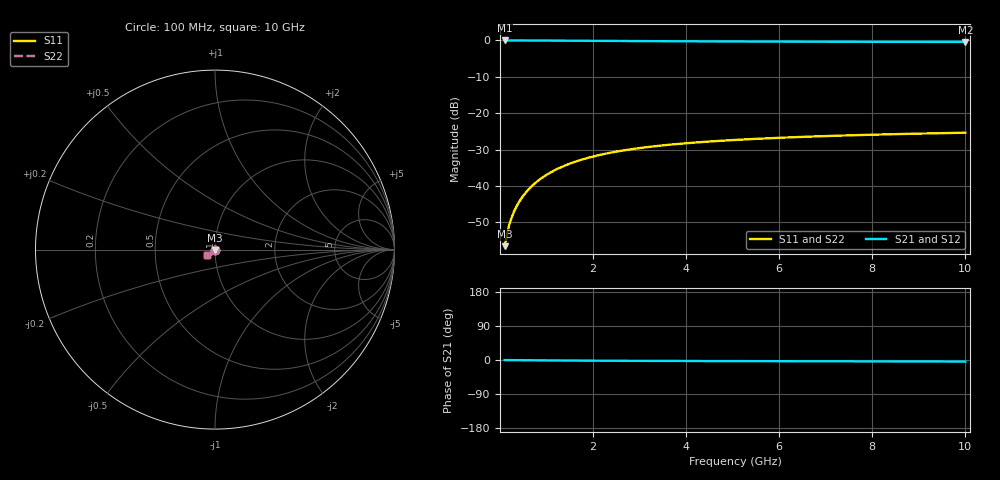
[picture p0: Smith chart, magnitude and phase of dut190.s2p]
! Touchstone file exported from HFSS 2024.1.0
!  File:  C:/UserFiles/LocalFiles/RDL_TSV_Batchsim/temp_TSV1_190_1778766776.aedt
!  Generated:  09:57:54 PM May 14, 2026
!  Design:  TSV1
!  Project:  temp_TSV1_190_1778766776
!  Setup:  Setup1
!  Solution:  Sweep
! Variables:
!  dtsv = 16.15um
!  hbump = 3um
!  htsv = 55.65um
!  lrdl = 252.1521522um
!  p = 40
!  p1 = 45.92um
!  t = 500um
!  trdl = 3um
!  wrdl = 24.89489489um
# GHz S MA R 50.000000
! Terminal data exported
! Port[1] = TSV22_T1
! Port[2] = TSV22_T2
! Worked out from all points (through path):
!   100 points, 100 MHz to 10 GHz, reference 50 ohm
!   highest |S21| = 0.00 dB at 100 MHz (marker M1); lowest = -0.4 dB at 10 GHz (marker M2)
!   lowest |S11| = -56.5 dB at 100 MHz (marker M3), VSWR 1.00, Z = 50 - j0.149 ohm
!   |S11| at or under -10 dB: start of sweep to end of sweep
!   |S22| runs from -56.5 to -25.4 dB; largest |S21 - S12| = 2.2e-15
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0.1  0.001489 -89.1  0.9999 -0.1  0.9999 -0.1  0.001489 -89.1
! Gamma 0 0 0 0
! Port Impedance 50 0 50 0
0.2  0.002972 -92.0  0.9998 -0.2  0.9998 -0.2  0.002972 -92.0
0.3  0.004447 -94.0  0.9995 -0.3  0.9995 -0.3  0.004447 -94.0
0.4  0.00591 -95.8  0.9992 -0.4  0.9992 -0.4  0.00591 -95.8
0.5  0.007357 -97.6  0.9989 -0.6  0.9989 -0.6  0.007357 -97.6
0.6  0.008783 -99.2  0.9984 -0.7  0.9984 -0.7  0.008783 -99.2
0.7  0.01019 -100.8  0.9979 -0.8  0.9979 -0.8  0.01019 -100.8
0.8  0.01156 -102.4  0.9973 -0.9  0.9973 -0.9  0.01156 -102.4
0.9  0.01291 -103.9  0.9967 -1.0  0.9967 -1.0  0.01291 -103.9
1.1  0.01551 -106.8  0.9953 -1.1  0.9953 -1.1  0.01551 -106.8
1.4  0.01914 -110.8  0.9929 -1.4  0.9929 -1.4  0.01914 -110.8
1.6  0.02137 -113.4  0.9913 -1.5  0.9913 -1.5  0.02137 -113.4
1.8  0.02346 -115.7  0.9896 -1.7  0.9896 -1.7  0.02346 -115.7
2.1  0.02631 -118.9  0.9871 -1.8  0.9871 -1.8  0.02631 -118.9
2.5  0.02965 -122.7  0.9838 -2.1  0.9838 -2.1  0.02965 -122.7
2.9  0.03253 -126.0  0.9808 -2.2  0.9808 -2.2  0.03253 -126.0
3.4  0.03559 -129.5  0.9774 -2.4  0.9774 -2.4  0.03559 -129.5
4.2  0.03957 -133.9  0.9726 -2.7  0.9726 -2.7  0.03957 -133.9
5.1  0.04309 -137.7  0.9682 -2.9  0.9682 -2.9  0.04309 -137.7
6.7  0.0478 -142.6  0.9621 -3.3  0.9621 -3.3  0.0478 -142.6
8.4  0.05141 -146.2  0.9574 -3.7  0.9574 -3.7  0.05141 -146.2
10  0.05395 -148.8  0.9541 -4.1  0.9541 -4.1  0.05395 -148.8
